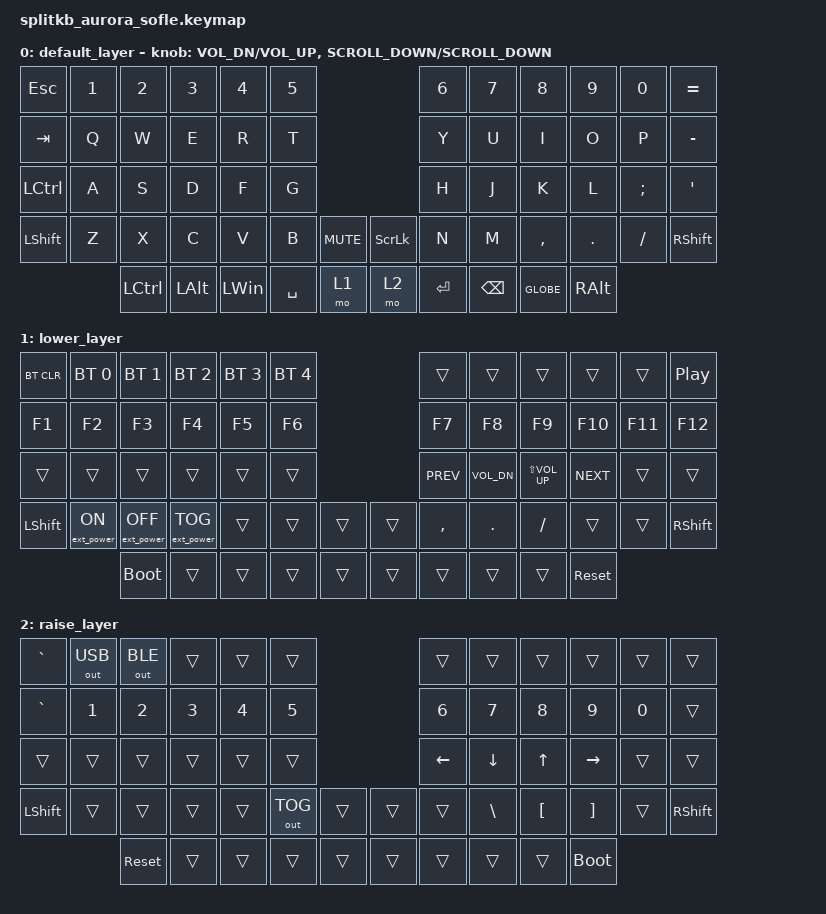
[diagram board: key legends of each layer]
/*
 * Copyright (c) 2023 The ZMK Contributors
 *
 * SPDX-License-Identifier: MIT
 */

#include <behaviors.dtsi>
#include <dt-bindings/zmk/bt.h>
#include <dt-bindings/zmk/ext_power.h>
#include <dt-bindings/zmk/keys.h>
#include <dt-bindings/zmk/outputs.h>

/* Uncomment this block if using RGB
&led_strip {
    chain-length = <6>;
};
 */

/ {
    keymap {
        compatible = "zmk,keymap";

        default_layer {
            bindings = <
&kp ESC    &kp N1  &kp N2     &kp N3    &kp N4        &kp N5                                   &kp N6   &kp N7    &kp N8     &kp N9    &kp N0    &kp EQUAL
&kp TAB    &kp Q   &kp W      &kp E     &kp R         &kp T                                    &kp Y    &kp U     &kp I      &kp O     &kp P     &kp MINUS
&kp LCTRL  &kp A   &kp S      &kp D     &kp F         &kp G                                    &kp H    &kp J     &kp K      &kp L     &kp SEMI  &kp SQT
&kp LSHFT  &kp Z   &kp X      &kp C     &kp V         &kp B      &kp C_MUTE    &kp SCROLLLOCK  &kp N    &kp M     &kp COMMA  &kp DOT   &kp FSLH  &kp RSHFT
                   &kp LCTRL  &kp LALT  &kp LEFT_WIN  &kp SPACE  &mo 1         &mo 2           &kp RET  &kp BSPC  &kp GLOBE  &kp RALT
            >;

            sensor-bindings =
                <&inc_dec_kp C_VOL_DN C_VOL_UP>,
                <&inc_dec_kp K_SCROLL_DOWN K_SCROLL_DOWN>;
        };

        lower_layer {
            bindings = <
&bt BT_CLR      &bt BT_SEL 0      &bt BT_SEL 1       &bt BT_SEL 2       &bt BT_SEL 3  &bt BT_SEL 4                    &trans      &trans        &trans            &trans      &trans   &kp C_PLAY_PAUSE
&kp F1          &kp F2            &kp F3             &kp F4             &kp F5        &kp F6                          &kp F7      &kp F8        &kp F9            &kp F10     &kp F11  &kp F12
&trans          &trans            &trans             &trans             &trans        &trans                          &kp C_PREV  &kp C_VOL_DN  &kp LS(C_VOL_UP)  &kp C_NEXT  &trans   &trans
&kp LEFT_SHIFT  &ext_power EP_ON  &ext_power EP_OFF  &ext_power EP_TOG  &trans        &trans        &trans    &trans  &kp COMMA   &kp PERIOD    &kp SLASH         &trans      &trans   &kp RIGHT_SHIFT
                                  &bootloader        &trans             &trans        &trans        &trans    &trans  &trans      &trans        &trans            &sys_reset
            >;
        };

        raise_layer {
            bindings = <
&kp GRAVE       &out OUT_USB  &out OUT_BLE  &trans  &trans  &trans                          &trans    &trans         &trans            &trans             &trans  &trans
&kp GRAVE       &kp N1        &kp N2        &kp N3  &kp N4  &kp N5                          &kp N6    &kp N7         &kp N8            &kp N9             &kp N0  &trans
&trans          &trans        &trans        &trans  &trans  &trans                          &kp LEFT  &kp DOWN       &kp UP            &kp RIGHT          &trans  &trans
&kp LEFT_SHIFT  &trans        &trans        &trans  &trans  &out OUT_TOG  &trans    &trans  &trans    &kp BACKSLASH  &kp LEFT_BRACKET  &kp RIGHT_BRACKET  &trans  &kp RIGHT_SHIFT
                              &sys_reset    &trans  &trans  &trans        &trans    &trans  &trans    &trans         &trans            &bootloader
            >;
        };
    };
};
